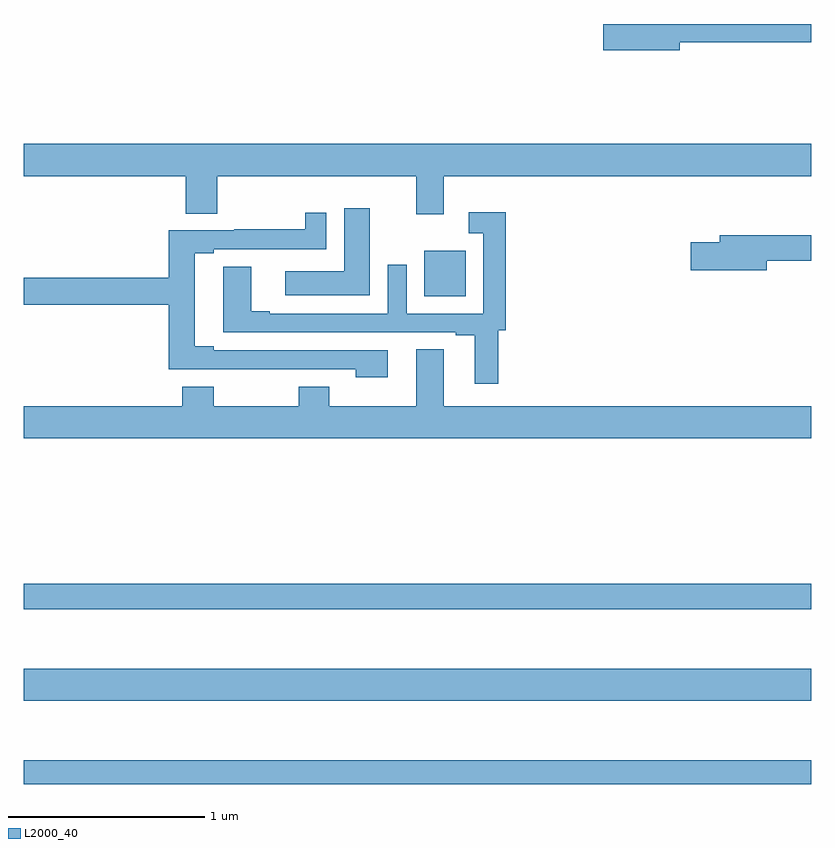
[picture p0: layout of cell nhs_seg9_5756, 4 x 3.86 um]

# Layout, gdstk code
import gdstk
lib = gdstk.Library(unit=1e-6, precision=1e-09)
def R(c, l, rs):  # rectangles x0, y0, x1, y1
    for r in rs: c.add(gdstk.rectangle(r[:2], r[2:], *l))
def P(c, l, *ps):  # polygons
    for p in ps: c.add(gdstk.Polygon(p, *l))
L2000_40 = (2000, 40)

nhs_seg9_5756 = lib.new_cell('nhs_seg9_5756')
R(nhs_seg9_5756, L2000_40, [(445,1218.642,449,1218.763), (445,1219.064,449,1219.228), (445,1219.53,449,1219.658), (447.035,1221.119,447.244,1221.349)])
P(nhs_seg9_5756, L2000_40, [(448.33,1222.408),(449,1222.408),(449,1222.5),(447.942,1222.5),(447.942,1222.366),(448.33,1222.366)],
  [(447.133,1221.728),(449,1221.728),(449,1221.892),(445,1221.892),(445,1221.728),(445.823,1221.728),(445.823,1221.538),(445.983,1221.538),(445.983,1221.728),(446.993,1221.728),(446.993,1221.534),(447.133,1221.534)],
  [(446.758,1221.565),(446.627,1221.565),(446.627,1221.244),(446.328,1221.244),(446.328,1221.122),(446.758,1221.122)],
  [(447.409,1220.946),(447.449,1220.946),(447.449,1221.544),(447.261,1221.544),(447.261,1221.438),(447.333,1221.438),(447.333,1221.03),(446.946,1221.03),(446.946,1221.277),(446.85,1221.277),(446.85,1221.03),(446.251,1221.03),(446.251,1221.043),(446.155,1221.043),(446.155,1221.268),(446.015,1221.268),(446.015,1220.934),(447.194,1220.934),(447.194,1220.919),(447.29,1220.919),(447.29,1220.673),(447.409,1220.673)],
  [(446.848,1220.844),(445.966,1220.844),(445.966,1220.864),(445.87,1220.864),(445.87,1221.337),(445.966,1221.337),(445.966,1221.357),(446.538,1221.357),(446.538,1221.541),(446.43,1221.541),(446.43,1221.458),(446.071,1221.458),(446.071,1221.453),(445.736,1221.453),(445.736,1221.212),(445,1221.212),(445,1221.076),(445.736,1221.076),(445.736,1220.748),(446.053,1220.748),(446.053,1220.747),(446.309,1220.747),(446.309,1220.748),(446.687,1220.748),(446.687,1220.708),(446.848,1220.708)],
  [(448.774,1221.298),(449,1221.298),(449,1221.427),(448.535,1221.427),(448.535,1221.393),(448.386,1221.393),(448.386,1221.251),(448.774,1221.251)],
  [(449,1220.56),(447.133,1220.56),(447.133,1220.849),(446.993,1220.849),(446.993,1220.56),(446.553,1220.56),(446.553,1220.659),(446.398,1220.659),(446.398,1220.56),(445.965,1220.56),(445.965,1220.659),(445.805,1220.659),(445.805,1220.56),(445,1220.56),(445,1220.396),(449,1220.396)])

lib.write_gds('nhs_seg9_5756.gds')
